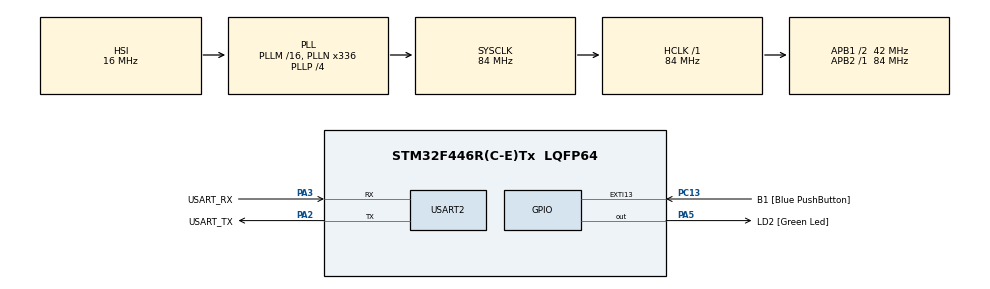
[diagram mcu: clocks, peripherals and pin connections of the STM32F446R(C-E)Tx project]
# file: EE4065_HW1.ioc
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Mcu.Family=STM32F4
Mcu.Name=STM32F446R(C-E)Tx
Mcu.Package=LQFP64
NVIC.PriorityGroup=NVIC_PRIORITYGROUP_0
PA13.GPIO_Label=TMS
PA13.Mode=Serial_Wire
PA13.Signal=SYS_JTMS-SWDIO
PA14.GPIO_Label=TCK
PA14.Mode=Serial_Wire
PA14.Signal=SYS_JTCK-SWCLK
PA2.GPIO_Label=USART_TX
PA2.Mode=Asynchronous
PA2.Signal=USART2_TX
PA3.GPIO_Label=USART_RX
PA3.Mode=Asynchronous
PA3.Signal=USART2_RX
PA5.GPIO_Label=LD2 [Green Led]
PA5.Signal=GPIO_Output
PB3.GPIO_Label=SWO
PB3.Signal=SYS_JTDO-SWO
PC13.GPIO_Label=B1 [Blue PushButton]
PC13.GPIO_ModeDefaultEXTI=GPIO_MODE_IT_FALLING
PC13.Signal=GPXTI13
PC14-OSC32_IN.Mode=LSE-External-Oscillator
PC14-OSC32_IN.Signal=RCC_OSC32_IN
PC15-OSC32_OUT.Mode=LSE-External-Oscillator
PC15-OSC32_OUT.Signal=RCC_OSC32_OUT
PH0-OSC_IN.Mode=HSE-External-Oscillator
PH0-OSC_IN.Signal=RCC_OSC_IN
PH1-OSC_OUT.Mode=HSE-External-Oscillator
PH1-OSC_OUT.Signal=RCC_OSC_OUT
ProjectManager.HeapSize=0x200
ProjectManager.StackSize=0x400
ProjectManager.TargetToolchain=STM32CubeIDE
RCC.48MHZClocksFreq_Value=84000000
RCC.AHBFreq_Value=84000000
RCC.APB1CLKDivider=RCC_HCLK_DIV2
RCC.APB1Freq_Value=42000000
RCC.APB1TimFreq_Value=84000000
RCC.APB2Freq_Value=84000000
RCC.APB2TimFreq_Value=84000000
RCC.CortexFreq_Value=84000000
RCC.FLatency-AdvancedSettings=FLASH_LATENCY_2
RCC.HCLKFreq_Value=84000000
RCC.HSE_VALUE=8000000
RCC.HSI_VALUE=16000000
RCC.PLLN=336
RCC.PLLP=RCC_PLLP_DIV4
RCC.SYSCLKFreq_VALUE=84000000
RCC.SYSCLKSource=RCC_SYSCLKSOURCE_PLLCLK
RCC.USBFreq_Value=168000000
RCC.VCOOutputFreq_Value=336000000
USART2.VirtualMode=VM_ASYNC
board=NUCLEO-F446RE

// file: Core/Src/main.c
/* USER CODE BEGIN Header */
/**
  ******************************************************************************
  * @file           : main.c
  * @brief          : Main program body
  ******************************************************************************
  * @attention
  *
  * Copyright (c) 2025 STMicroelectronics.
  * All rights reserved.
  *
  * This software is licensed under terms that can be found in the LICENSE file
  * in the root directory of this software component.
  * If no LICENSE file comes with this software, it is provided AS-IS.
  *
  ******************************************************************************
  */
/* USER CODE END Header */
#include "main.h"

/* USER CODE BEGIN Includes */
#include "monke.h"
#include <stdint.h>
#include <math.h>
/* USER CODE END Includes */

/* USER CODE BEGIN PD */
#define IMAGE_WIDTH     160
#define IMAGE_HEIGHT    120
#define IMAGE_SIZE      (IMAGE_WIDTH * IMAGE_HEIGHT)
/* USER CODE END PD */

UART_HandleTypeDef huart2;

/* USER CODE BEGIN PV */
uint8_t negative_image_data[IMAGE_SIZE];
uint8_t threshold_image_data[IMAGE_SIZE];
uint8_t gamma_dark_image_data[IMAGE_SIZE];
uint8_t gamma_bright_image_data[IMAGE_SIZE];
uint8_t piecewise_image_data[IMAGE_SIZE];
/* USER CODE END PV */

void SystemClock_Config(void);
static void MX_GPIO_Init(void);
static void MX_USART2_UART_Init(void);

int main(void)
{

  /* MCU Configuration--------------------------------------------------------*/

  /* Reset of all peripherals, Initializes the Flash interface and the Systick. */
  HAL_Init();

  /* Configure the system clock */
  SystemClock_Config();

  /* Initialize all configured peripherals */
  MX_GPIO_Init();
  MX_USART2_UART_Init();
  /* USER CODE BEGIN 2 */
	const uint8_t *image_data_ptr = grayscale_img_data;

	/* Q2.a - Negative Image: Basically subtract image data from 255 to reverse its colors. */
	for (int i = 0; i < IMAGE_SIZE; i++){
	negative_image_data[i] = 255 - grayscale_img_data[i];
	}

	/* Q2.b - Thresholding: Reduces the image to black and white.
	* If the pixel value is greater than a specified threshold, it is set to white (255); otherwise, it is set to black (0). */
	uint8_t threshold_value = 128;
	for (int i = 0; i < IMAGE_SIZE; i++){
	  if (grayscale_img_data[i] > threshold_value){
			threshold_image_data[i] = 255;
			}

	  else{
		  threshold_image_data[i] = 0;
		  }
	  }

  /* Q2.c: Gamma Correction */

	// Gamma = 3
	uint8_t gamma_lut_dark[256];
	for (int i = 0; i < 256; i++) {
		gamma_lut_dark[i] = (uint8_t)(powf(i / 255.0f, 3.0f) * 255.0f);
	}
	for (int i = 0; i < IMAGE_SIZE; i++) {
		gamma_dark_image_data[i] = gamma_lut_dark[grayscale_img_data[i]];
	}

	// Gamma = 1/3 - piecewise linear approach (since taking root is slower process as we've talked during the class)
	// Points chosen: (x1,y1)=(0,0), (x2,y2)=(64,161), (x3,y3)=(192,230), (x4,y4)=(255,255)
	const int x1=0,   y1=0;
	const int x2=64,  y2=161;
	const int x3=192, y3=230;
	const int x4=255, y4=255;

	// slopes
	const float m1 = (float)(y2 - y1) / (x2 - x1);
	const float m2 = (float)(y3 - y2) / (x3 - x2);
	const float m3 = (float)(y4 - y3) / (x4 - x3);

	for (int i = 0; i < IMAGE_SIZE; i++){
		uint8_t pixel_value = grayscale_img_data[i];

		if (pixel_value <= x2){ // 0-64
			// y = m*(x-x1) + y1
			gamma_bright_image_data[i] = (uint8_t)(m1 * (pixel_value - x1) + y1);
		}
		else if (pixel_value <= x3){ // 64-192
			// y = m*(x-x2) + y2
			gamma_bright_image_data[i] = (uint8_t)(m2 * (pixel_value - x2) + y2);
		}
		else{ // 192-255
			// y = m*(x-x3) + y3
			gamma_bright_image_data[i] = (uint8_t)(m3 * (pixel_value - x3) + y3);
		}
	}

	/* Q2.d: Piecewise linear transformations for the part in b. */
	  int r1 = 50,  s1 = 0;
	  int r2 = 150, s2 = 255;

	  for (int i = 0; i < IMAGE_SIZE; i++){
	      uint8_t pixel_value = grayscale_img_data[i];

	      if (pixel_value < r1){
	          piecewise_image_data[i] = s1;
	      }
	      else if (pixel_value > r2){
	          piecewise_image_data[i] = s2;
	      }
	      else{
	          piecewise_image_data[i] = (uint8_t)(((float)(pixel_value - r1) / (r2 - r1)) * (s2 - s1) + s1);
	      }
	  }

  /* USER CODE END 2 */

  /* Infinite loop */
  while (1)
  {

  }
}

void SystemClock_Config(void)
{
  RCC_OscInitTypeDef RCC_OscInitStruct = {0};
  RCC_ClkInitTypeDef RCC_ClkInitStruct = {0};

  /** Configure the main internal regulator output voltage
  */
  __HAL_RCC_PWR_CLK_ENABLE();
  __HAL_PWR_VOLTAGESCALING_CONFIG(PWR_REGULATOR_VOLTAGE_SCALE3);

  /** Initializes the RCC Oscillators according to the specified parameters
  * in the RCC_OscInitTypeDef structure.
  */
  RCC_OscInitStruct.OscillatorType = RCC_OSCILLATORTYPE_HSI;
  RCC_OscInitStruct.HSIState = RCC_HSI_ON;
  RCC_OscInitStruct.HSICalibrationValue = RCC_HSICALIBRATION_DEFAULT;
  RCC_OscInitStruct.PLL.PLLState = RCC_PLL_ON;
  RCC_OscInitStruct.PLL.PLLSource = RCC_PLLSOURCE_HSI;
  RCC_OscInitStruct.PLL.PLLM = 16;
  RCC_OscInitStruct.PLL.PLLN = 336;
  RCC_OscInitStruct.PLL.PLLP = RCC_PLLP_DIV4;
  RCC_OscInitStruct.PLL.PLLQ = 2;
  RCC_OscInitStruct.PLL.PLLR = 2;
  if (HAL_RCC_OscConfig(&RCC_OscInitStruct) != HAL_OK)
  {
    Error_Handler();
  }

  /** Initializes the CPU, AHB and APB buses clocks
  */
  RCC_ClkInitStruct.ClockType = RCC_CLOCKTYPE_HCLK|RCC_CLOCKTYPE_SYSCLK
                              |RCC_CLOCKTYPE_PCLK1|RCC_CLOCKTYPE_PCLK2;
  RCC_ClkInitStruct.SYSCLKSource = RCC_SYSCLKSOURCE_PLLCLK;
  RCC_ClkInitStruct.AHBCLKDivider = RCC_SYSCLK_DIV1;
  RCC_ClkInitStruct.APB1CLKDivider = RCC_HCLK_DIV2;
  RCC_ClkInitStruct.APB2CLKDivider = RCC_HCLK_DIV1;

  if (HAL_RCC_ClockConfig(&RCC_ClkInitStruct, FLASH_LATENCY_2) != HAL_OK)
  {
    Error_Handler();
  }
}

static void MX_USART2_UART_Init(void)
{

  huart2.Instance = USART2;
  huart2.Init.BaudRate = 115200;
  huart2.Init.WordLength = UART_WORDLENGTH_8B;
  huart2.Init.StopBits = UART_STOPBITS_1;
  huart2.Init.Parity = UART_PARITY_NONE;
  huart2.Init.Mode = UART_MODE_TX_RX;
  huart2.Init.HwFlowCtl = UART_HWCONTROL_NONE;
  huart2.Init.OverSampling = UART_OVERSAMPLING_16;
  if (HAL_UART_Init(&huart2) != HAL_OK)
  {
    Error_Handler();
  }

}

static void MX_GPIO_Init(void)
{
  GPIO_InitTypeDef GPIO_InitStruct = {0};

  /* GPIO Ports Clock Enable */
  __HAL_RCC_GPIOC_CLK_ENABLE();
  __HAL_RCC_GPIOH_CLK_ENABLE();
  __HAL_RCC_GPIOA_CLK_ENABLE();
  __HAL_RCC_GPIOB_CLK_ENABLE();

  /*Configure GPIO pin Output Level */
  HAL_GPIO_WritePin(LD2_GPIO_Port, LD2_Pin, GPIO_PIN_RESET);

  /*Configure GPIO pin : B1_Pin */
  GPIO_InitStruct.Pin = B1_Pin;
  GPIO_InitStruct.Mode = GPIO_MODE_IT_FALLING;
  GPIO_InitStruct.Pull = GPIO_NOPULL;
  HAL_GPIO_Init(B1_GPIO_Port, &GPIO_InitStruct);

  /*Configure GPIO pin : LD2_Pin */
  GPIO_InitStruct.Pin = LD2_Pin;
  GPIO_InitStruct.Mode = GPIO_MODE_OUTPUT_PP;
  GPIO_InitStruct.Pull = GPIO_NOPULL;
  GPIO_InitStruct.Speed = GPIO_SPEED_FREQ_LOW;
  HAL_GPIO_Init(LD2_GPIO_Port, &GPIO_InitStruct);

}

void Error_Handler(void)
{
  __disable_irq();
  while (1)
  {
  }
}
